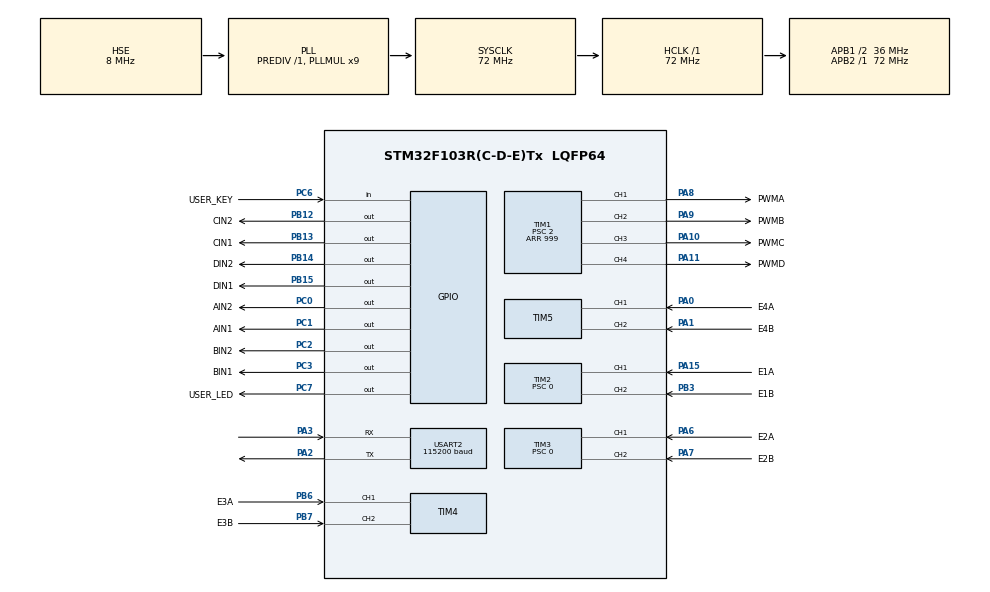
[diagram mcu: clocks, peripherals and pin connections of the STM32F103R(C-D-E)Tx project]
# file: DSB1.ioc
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Dma.Request0=USART2_TX
Dma.USART2_TX.0.Direction=DMA_MEMORY_TO_PERIPH
Dma.USART2_TX.0.Instance=DMA1_Channel7
Dma.USART2_TX.0.MemDataAlignment=DMA_MDATAALIGN_BYTE
Dma.USART2_TX.0.MemInc=DMA_MINC_ENABLE
Dma.USART2_TX.0.Mode=DMA_NORMAL
Dma.USART2_TX.0.PeriphDataAlignment=DMA_PDATAALIGN_BYTE
Dma.USART2_TX.0.PeriphInc=DMA_PINC_DISABLE
Dma.USART2_TX.0.Priority=DMA_PRIORITY_LOW
Mcu.Family=STM32F1
Mcu.Name=STM32F103R(C-D-E)Tx
Mcu.Package=LQFP64
NVIC.DMA1_Channel7_IRQn=true\:0\:0\:false\:false\:true\:false\:true\:true
NVIC.PriorityGroup=NVIC_PRIORITYGROUP_4
NVIC.TIM6_IRQn=true\:0\:0\:false\:false\:true\:true\:true\:true
NVIC.TIM7_IRQn=true\:0\:0\:false\:false\:true\:true\:true\:true
NVIC.TIM8_UP_IRQn=true\:0\:0\:false\:false\:true\:true\:true\:true
NVIC.USART2_IRQn=true\:0\:0\:false\:false\:true\:true\:true\:true
PA0-WKUP.GPIO_Label=E4A
PA0-WKUP.Signal=S_TIM5_CH1
PA1.GPIO_Label=E4B
PA1.Signal=S_TIM5_CH2
PA10.GPIO_Label=PWMC
PA10.Signal=S_TIM1_CH3
PA11.GPIO_Label=PWMD
PA11.Signal=S_TIM1_CH4
PA13.Mode=Serial_Wire
PA13.Signal=SYS_JTMS-SWDIO
PA14.Mode=Serial_Wire
PA14.Signal=SYS_JTCK-SWCLK
PA15.GPIO_Label=E1A
PA15.Signal=S_TIM2_CH1_ETR
PA2.Mode=Asynchronous
PA2.Signal=USART2_TX
PA3.Mode=Asynchronous
PA3.Signal=USART2_RX
PA6.GPIO_Label=E2A
PA6.Signal=S_TIM3_CH1
PA7.GPIO_Label=E2B
PA7.Signal=S_TIM3_CH2
PA8.GPIO_Label=PWMA
PA8.Signal=S_TIM1_CH1
PA9.GPIO_Label=PWMB
PA9.Signal=S_TIM1_CH2
PB12.GPIO_Label=CIN2
PB12.Signal=GPIO_Output
PB13.GPIO_Label=CIN1
PB13.Signal=GPIO_Output
PB14.GPIO_Label=DIN2
PB14.Signal=GPIO_Output
PB15.GPIO_Label=DIN1
PB15.Signal=GPIO_Output
PB3.GPIO_Label=E1B
PB3.Signal=S_TIM2_CH2
PB6.GPIO_Label=E3A
PB6.Signal=S_TIM4_CH1
PB7.GPIO_Label=E3B
PB7.Signal=S_TIM4_CH2
PC0.GPIO_Label=AIN2
PC0.Signal=GPIO_Output
PC1.GPIO_Label=AIN1
PC1.Signal=GPIO_Output
PC2.GPIO_Label=BIN2
PC2.Signal=GPIO_Output
PC3.GPIO_Label=BIN1
PC3.Signal=GPIO_Output
PC6.GPIO_Label=USER_KEY
PC6.GPIO_PuPd=GPIO_PULLUP
PC6.Signal=GPIO_Input
PC7.GPIO_Label=USER_LED
PC7.Signal=GPIO_Output
PD0-OSC_IN.Mode=HSE-External-Oscillator
PD0-OSC_IN.Signal=RCC_OSC_IN
PD1-OSC_OUT.Mode=HSE-External-Oscillator
PD1-OSC_OUT.Signal=RCC_OSC_OUT
ProjectManager.HeapSize=0x200
ProjectManager.StackSize=0x400
ProjectManager.TargetToolchain=STM32CubeIDE
RCC.AHBFreq_Value=72000000
RCC.APB1CLKDivider=RCC_HCLK_DIV2
RCC.APB1Freq_Value=36000000
RCC.APB1TimFreq_Value=72000000
RCC.APB2Freq_Value=72000000
RCC.APB2TimFreq_Value=72000000
RCC.HCLKFreq_Value=72000000
RCC.PLLMUL=RCC_PLL_MUL9
RCC.PLLSourceVirtual=RCC_PLLSOURCE_HSE
RCC.SYSCLKFreq_VALUE=72000000
RCC.SYSCLKSource=RCC_SYSCLKSOURCE_PLLCLK
RCC.USBFreq_Value=72000000
SH.S_TIM1_CH1.0=TIM1_CH1,PWM Generation1 CH1
SH.S_TIM1_CH2.0=TIM1_CH2,PWM Generation2 CH2
SH.S_TIM1_CH3.0=TIM1_CH3,PWM Generation3 CH3
SH.S_TIM1_CH4.0=TIM1_CH4,PWM Generation4 CH4
SH.S_TIM2_CH1_ETR.0=TIM2_CH1,Encoder_Interface
SH.S_TIM2_CH2.0=TIM2_CH2,Encoder_Interface
SH.S_TIM3_CH1.0=TIM3_CH1,Encoder_Interface
SH.S_TIM3_CH2.0=TIM3_CH2,Encoder_Interface
SH.S_TIM4_CH1.0=TIM4_CH1,Encoder_Interface
SH.S_TIM4_CH2.0=TIM4_CH2,Encoder_Interface
SH.S_TIM5_CH1.0=TIM5_CH1,Encoder_Interface
SH.S_TIM5_CH2.0=TIM5_CH2,Encoder_Interface
TIM1.Channel-PWM\ Generation1\ CH1=TIM_CHANNEL_1
TIM1.Channel-PWM\ Generation2\ CH2=TIM_CHANNEL_2
TIM1.Channel-PWM\ Generation3\ CH3=TIM_CHANNEL_3
TIM1.Channel-PWM\ Generation4\ CH4=TIM_CHANNEL_4
TIM1.Period=999
TIM1.Prescaler=2
TIM2.EncoderMode=TIM_ENCODERMODE_TI12
TIM2.IC1Polarity=TIM_ICPOLARITY_RISING
TIM2.IC2Polarity=TIM_ICPOLARITY_RISING
TIM2.Prescaler=0
TIM3.EncoderMode=TIM_ENCODERMODE_TI12
TIM3.Prescaler=0
TIM4.EncoderMode=TIM_ENCODERMODE_TI12
TIM5.EncoderMode=TIM_ENCODERMODE_TI12
TIM6.AutoReloadPreload=TIM_AUTORELOAD_PRELOAD_ENABLE
TIM6.Period=1000-1
TIM6.Prescaler=72-1
TIM7.Period=10-1
TIM7.Prescaler=7200-1
TIM8.AutoReloadPreload=TIM_AUTORELOAD_PRELOAD_ENABLE
TIM8.Period=500-1
TIM8.Prescaler=7200-1
USART2.BaudRate=115200
USART2.VirtualMode=VM_ASYNC
VP_TIM6_VS_ClockSourceINT.Mode=Enable_Timer
VP_TIM7_VS_ClockSourceINT.Mode=Enable_Timer
VP_TIM8_VS_ClockSourceINT.Mode=Internal
board=custom

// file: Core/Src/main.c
/* USER CODE BEGIN Header */
/**
  ******************************************************************************
  * @file           : main.c
  * @brief          : Main program body
  ******************************************************************************
  * @attention
  *
  * Copyright (c) 2025 STMicroelectronics.
  * All rights reserved.
  *
  * This software is licensed under terms that can be found in the LICENSE file
  * in the root directory of this software component.
  * If no LICENSE file comes with this software, it is provided AS-IS.
  *
  ******************************************************************************
  */
/* USER CODE END Header */
#include "main.h"
#include "dma.h"
#include "tim.h"
#include "usart.h"
#include "gpio.h"

/* USER CODE BEGIN Includes */
#include "motor\ax_motor.h"
#include "motor\ax_encoder.h"
#include "motor\motor_pid.h"
#include "motor_frame/uart2_motor_frame.h"
#include <stdarg.h>
#include <string.h>
/* USER CODE END Includes */

void SystemClock_Config(void);

int main(void)
{

  /* MCU Configuration--------------------------------------------------------*/

  /* Reset of all peripherals, Initializes the Flash interface and the Systick. */
  HAL_Init();

  /* Configure the system clock */
  SystemClock_Config();

  /* Initialize all configured peripherals */
  MX_GPIO_Init();
  MX_DMA_Init();
  MX_TIM1_Init();
  MX_TIM2_Init();
  MX_TIM3_Init();
  MX_TIM4_Init();
  MX_TIM5_Init();
  MX_USART2_UART_Init();
  MX_TIM6_Init();
  MX_TIM7_Init();
  MX_TIM8_Init();
  /* USER CODE BEGIN 2 */
  //HAL_Delay(500);
    Encoder_Init();
    Motor_Init();
    PID_Init();
    MotorFrame_UART2_Init();
    HAL_TIM_Base_Start_IT(&htim7);
    HAL_TIM_Base_Start_IT(&htim8);
  /* USER CODE END 2 */

  /* Infinite loop */
  /* USER CODE BEGIN WHILE */
  while (1)
  {
      HAL_GPIO_WritePin(USER_LED_GPIO_Port,USER_LED_Pin,GPIO_PIN_SET);
      HAL_Delay(500);
      HAL_GPIO_WritePin(USER_LED_GPIO_Port,USER_LED_Pin,GPIO_PIN_RESET);
      HAL_Delay(500);
    /* USER CODE END WHILE */

  }
}

void SystemClock_Config(void)
{
  RCC_OscInitTypeDef RCC_OscInitStruct = {0};
  RCC_ClkInitTypeDef RCC_ClkInitStruct = {0};

  /** Initializes the RCC Oscillators according to the specified parameters
  * in the RCC_OscInitTypeDef structure.
  */
  RCC_OscInitStruct.OscillatorType = RCC_OSCILLATORTYPE_HSE;
  RCC_OscInitStruct.HSEState = RCC_HSE_ON;
  RCC_OscInitStruct.HSEPredivValue = RCC_HSE_PREDIV_DIV1;
  RCC_OscInitStruct.HSIState = RCC_HSI_ON;
  RCC_OscInitStruct.PLL.PLLState = RCC_PLL_ON;
  RCC_OscInitStruct.PLL.PLLSource = RCC_PLLSOURCE_HSE;
  RCC_OscInitStruct.PLL.PLLMUL = RCC_PLL_MUL9;
  if (HAL_RCC_OscConfig(&RCC_OscInitStruct) != HAL_OK)
  {
    Error_Handler();
  }

  /** Initializes the CPU, AHB and APB buses clocks
  */
  RCC_ClkInitStruct.ClockType = RCC_CLOCKTYPE_HCLK|RCC_CLOCKTYPE_SYSCLK
                              |RCC_CLOCKTYPE_PCLK1|RCC_CLOCKTYPE_PCLK2;
  RCC_ClkInitStruct.SYSCLKSource = RCC_SYSCLKSOURCE_PLLCLK;
  RCC_ClkInitStruct.AHBCLKDivider = RCC_SYSCLK_DIV1;
  RCC_ClkInitStruct.APB1CLKDivider = RCC_HCLK_DIV2;
  RCC_ClkInitStruct.APB2CLKDivider = RCC_HCLK_DIV1;

  if (HAL_RCC_ClockConfig(&RCC_ClkInitStruct, FLASH_LATENCY_2) != HAL_OK)
  {
    Error_Handler();
  }
}

void Error_Handler(void)
{
  __disable_irq();
  while (1)
  {
  }
}
